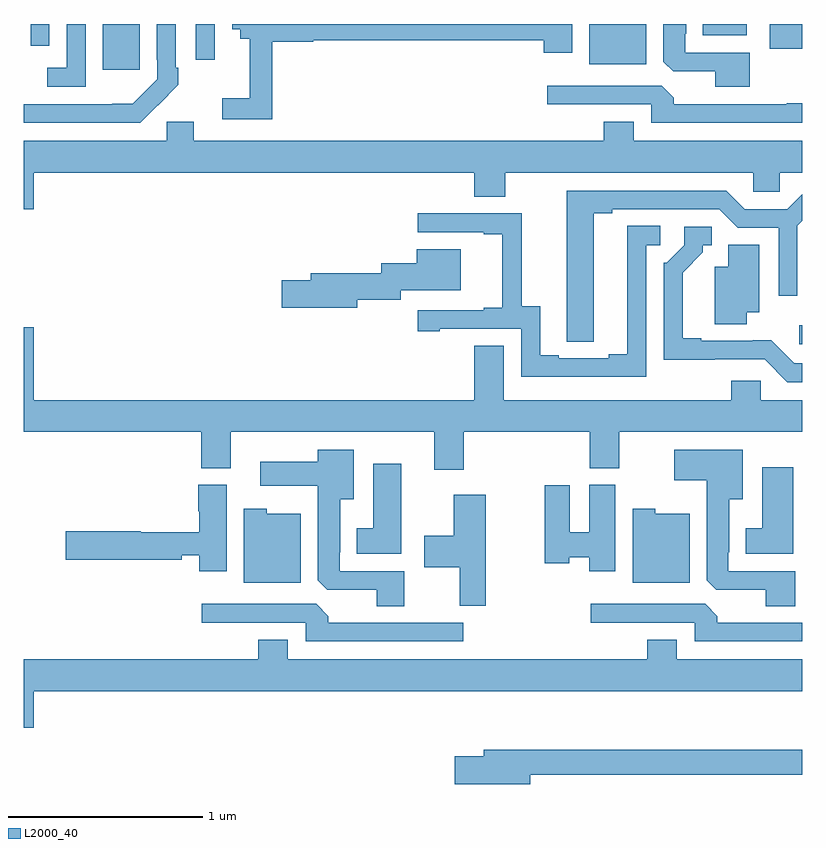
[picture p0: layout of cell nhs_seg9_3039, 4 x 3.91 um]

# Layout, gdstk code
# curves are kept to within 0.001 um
import gdstk
lib = gdstk.Library(unit=1e-6, precision=1e-09)
def R(c, l, rs):  # rectangles x0, y0, x1, y1
    for r in rs: c.add(gdstk.rectangle(r[:2], r[2:], *l))
def P(c, l, *ps):  # polygons
    for p in ps: c.add(gdstk.Polygon(p, *l))
L2000_40 = (2000, 40)

nhs_seg9_3039 = lib.new_cell('nhs_seg9_3039')
R(nhs_seg9_3039, L2000_40, [(288.984,1212.855,289,1212.952), (285.407,1214.265,285.595,1214.5), (287.906,1214.294,288.199,1214.5), (285.885,1214.316,285.981,1214.5), (288.834,1214.372,289,1214.5), (285.036,1214.388,285.132,1214.5), (288.488,1214.441,288.715,1214.5)])
P(nhs_seg9_3039, L2000_40, [(286.277,1214.408),(286.488,1214.408),(286.488,1214.416),(287.672,1214.416),(287.672,1214.352),(287.818,1214.352),(287.818,1214.5),(286.07,1214.5),(286.07,1214.474),(286.112,1214.474),(286.112,1214.423),(286.16,1214.423),(286.16,1214.119),(286.02,1214.119),(286.02,1214.01),(286.277,1214.01)],
  [(288.73,1214.352),(288.399,1214.352),(288.399,1214.449),(288.403,1214.449),(288.403,1214.5),(288.287,1214.5),(288.287,1214.305),(288.336,1214.256),(288.554,1214.256),(288.554,1214.177),(288.73,1214.177)],
  [(285.318,1214.5),(285.222,1214.5),(285.222,1214.274),(285.12,1214.274),(285.12,1214.178),(285.318,1214.178)],
  [(285.689,1214.083),(285.69,1214.082),(285.795,1214.187),(285.795,1214.275),(285.78,1214.275),(285.78,1214.5),(285.684,1214.5),(285.684,1214.317),(285.687,1214.317),(285.687,1214.217),(285.559,1214.089),(285,1214.088),(285,1213.992),(285.598,1213.992)],
  [(289,1214.093),(288.92,1214.093),(288.92,1214.088),(288.341,1214.088),(288.341,1214.122),(288.279,1214.184),(287.691,1214.184),(287.691,1214.088),(288.225,1214.088),(288.225,1213.992),(289,1213.992)],
  [(285.052,1213.736),(287.315,1213.736),(287.315,1213.612),(287.475,1213.612),(287.475,1213.736),(288.747,1213.736),(288.747,1213.638),(288.885,1213.638),(288.885,1213.736),(289,1213.736),(289,1213.9),(288.133,1213.9),(288.133,1213.999),(287.981,1213.999),(287.981,1213.9),(285.874,1213.9),(285.874,1213.998),(285.735,1213.998),(285.735,1213.9),(285,1213.9),(285,1213.548),(285.052,1213.548)],
  [(287.929,1213.528),(288.025,1213.528),(288.025,1213.548),(288.573,1213.548),(288.669,1213.452),(288.879,1213.452),(288.879,1213.104),(288.975,1213.104),(288.975,1213.464),(289,1213.489),(289,1213.625),(288.923,1213.548),(288.705,1213.548),(288.609,1213.644),(287.789,1213.644),(287.79,1212.868),(287.929,1212.868)],
  [(288.198,1213.362),(288.271,1213.362),(288.271,1213.463),(288.101,1213.463),(288.101,1212.803),(288.005,1212.803),(288.005,1212.783),(287.749,1212.783),(287.749,1212.798),(287.653,1212.798),(287.653,1213.049),(287.559,1213.049),(287.559,1213.527),(287.025,1213.527),(287.025,1213.431),(287.363,1213.431),(287.363,1213.419),(287.459,1213.419),(287.459,1213.042),(287.363,1213.042),(287.363,1213.029),(287.025,1213.029),(287.025,1212.921),(287.137,1212.921),(287.137,1212.933),(287.556,1212.933),(287.556,1212.687),(288.198,1212.687)],
  [(289,1212.756),(288.96,1212.756),(288.842,1212.874),(288.481,1212.873),(288.481,1212.886),(288.385,1212.886),(288.385,1213.222),(288.49,1213.327),(288.49,1213.362),(288.535,1213.362),(288.535,1213.458),(288.393,1213.458),(288.393,1213.362),(288.303,1213.272),(288.288,1213.272),(288.288,1212.776),(288.807,1212.777),(288.924,1212.66),(289,1212.66)],
  [(288.715,1213.019),(288.778,1213.019),(288.778,1213.367),(288.62,1213.367),(288.62,1213.252),(288.551,1213.252),(288.551,1212.958),(288.715,1212.958)],
  [(286.714,1213.084),(286.936,1213.084),(286.936,1213.133),(287.245,1213.133),(287.245,1213.342),(287.018,1213.342),(287.018,1213.27),(286.838,1213.27),(286.838,1213.22),(286.475,1213.22),(286.475,1213.184),(286.326,1213.184),(286.326,1213.042),(286.714,1213.042)],
  [(287.261,1212.404),(287.909,1212.404),(287.909,1212.217),(288.061,1212.217),(288.061,1212.404),(289,1212.404),(289,1212.568),(288.786,1212.568),(288.786,1212.666),(288.635,1212.666),(288.635,1212.568),(287.467,1212.568),(287.467,1212.848),(287.315,1212.848),(287.315,1212.568),(285.052,1212.568),(285.052,1212.943),(285,1212.943),(285,1212.404),(285.911,1212.404),(285.911,1212.217),(286.063,1212.217),(286.063,1212.404),(287.108,1212.404),(287.108,1212.21),(287.261,1212.21)],
  [(286.954,1211.688),(286.623,1211.688),(286.623,1211.785),(286.627,1211.785),(286.627,1212.059),(286.696,1212.059),(286.696,1212.313),(286.511,1212.313),(286.511,1212.25),(286.215,1212.25),(286.215,1212.128),(286.511,1212.128),(286.511,1211.641),(286.56,1211.592),(286.814,1211.592),(286.814,1211.509),(286.954,1211.509)],
  [(288.965,1211.688),(288.621,1211.688),(288.621,1211.785),(288.625,1211.785),(288.625,1212.059),(288.694,1212.059),(288.694,1212.313),(288.342,1212.313),(288.342,1212.155),(288.509,1212.155),(288.509,1211.641),(288.558,1211.592),(288.812,1211.592),(288.812,1211.509),(288.965,1211.509)],
  [(286.939,1212.241),(286.796,1212.241),(286.796,1211.908),(286.712,1211.908),(286.712,1211.777),(286.939,1211.777)],
  [(288.955,1212.223),(288.794,1212.223),(288.794,1211.908),(288.71,1211.908),(288.71,1211.777),(288.955,1211.777)],
  [(286.042,1212.132),(285.896,1212.132),(285.896,1211.996),(285.901,1211.996),(285.901,1211.888),(285.6,1211.888),(285.6,1211.894),(285.216,1211.894),(285.216,1211.747),(285.812,1211.747),(285.812,1211.77),(285.901,1211.77),(285.901,1211.688),(286.042,1211.688)],
  [(288.04,1212.132),(287.906,1212.132),(287.906,1211.889),(287.806,1211.889),(287.806,1212.13),(287.677,1212.13),(287.677,1211.729),(287.802,1211.729),(287.802,1211.759),(287.906,1211.759),(287.906,1211.688),(288.04,1211.688)],
  [(287.375,1211.712),(287.373,1211.712),(287.373,1212.082),(287.21,1212.082),(287.21,1211.871),(287.058,1211.871),(287.058,1211.708),(287.24,1211.708),(287.24,1211.511),(287.375,1211.511)],
  [(288.421,1211.983),(288.246,1211.983),(288.246,1212.01),(288.128,1212.01),(288.128,1211.63),(288.421,1211.63)],
  [(286.423,1211.983),(286.248,1211.983),(286.248,1212.01),(286.13,1212.01),(286.13,1211.63),(286.423,1211.63)],
  [(289,1211.424),(288.563,1211.424),(288.563,1211.458),(288.501,1211.52),(287.913,1211.52),(287.913,1211.424),(288.447,1211.424),(288.447,1211.328),(289,1211.328)],
  [(287.257,1211.424),(286.565,1211.424),(286.565,1211.458),(286.503,1211.52),(285.915,1211.52),(285.915,1211.424),(286.449,1211.424),(286.449,1211.328),(287.257,1211.328)],
  [(285.052,1211.072),(289,1211.072),(289,1211.236),(288.355,1211.236),(288.355,1211.335),(288.203,1211.335),(288.203,1211.236),(286.357,1211.236),(286.357,1211.335),(286.205,1211.335),(286.205,1211.236),(285,1211.236),(285,1210.884),(285.052,1210.884)],
  [(287.602,1210.642),(289,1210.642),(289,1210.771),(287.363,1210.771),(287.363,1210.737),(287.214,1210.737),(287.214,1210.595),(287.602,1210.595)])

lib.write_gds('nhs_seg9_3039.gds')
